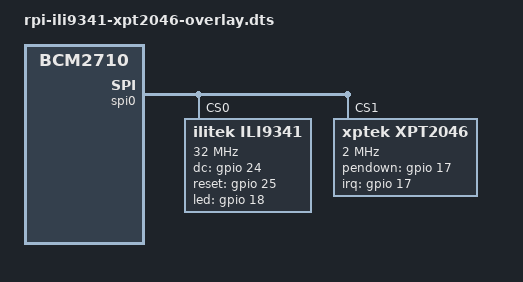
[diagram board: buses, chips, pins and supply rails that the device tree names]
/dts-v1/;
/plugin/;

/ {
    compatible = "brcm,bcm2837", "brcm,bcm2710";

    /* Fragment 0: Configure SPI0 and devices */
    fragment@0 {
        target = <&spi0>;
        __overlay__ {
            status = "okay";
            #address-cells = <1>;
            #size-cells = <0>;

            /delete-node/ spidev@0;
            /delete-node/ spidev@1;

            /* ILI9341 Display on SPI0.0 (CE0) */
            ili9341: ili9341@0 {
                compatible = "ilitek,ili9341";
                reg = <0>;

                spi-max-frequency = <32000000>;

                /* GPIO pins */
                dc-gpios = <&gpio 24 0>;
                reset-gpios = <&gpio 25 0>;
                led-gpios = <&gpio 18 0>;

                /* Display settings */
                rotation = <90>;
                fps = <30>;

                status = "okay";
            };

            /* XPT2046 Touch on SPI0.1 (CE1) */
            xpt2046: xpt2046@1 {
                compatible = "xptek,xpt2046";
                reg = <1>;

                /* SPI configuration */
                spi-max-frequency = <2000000>;

                /* Interrupt configuration - FIXED for interrupt storm */
                interrupt-parent = <&gpio>;
                interrupts = <17 2>;          /* IRQ_TYPE_EDGE_FALLING */
                pendown-gpios = <&gpio 17 0>; /* driver treats GPIO value 0 as pen down */

                /* Calibration - 12-bit ADC range */
                ti,x-min = /bits/ 16 <200>;
                ti,x-max = /bits/ 16 <3900>;
                ti,y-min = /bits/ 16 <200>;
                ti,y-max = /bits/ 16 <3900>;
                ti,pressure-min = /bits/ 16 <30>;
                ti,pressure-max = /bits/ 16 <255>;

                /* Touch configuration flags */
                ti,swap-xy;           /* Swap X and Y for landscape */
                ti,invert-x;
                ti,invert-y;

                status = "okay";
            };
        };
    };

    /* Fragment 1: GPIO pin configuration */
    fragment@1 {
        target = <&gpio>;
        __overlay__ {
            ili9341_pins: ili9341_pins {
                brcm,pins = <24 25 18>;
                brcm,function = <1 1 1>;
                brcm,pull = <0 0 0>;
            };

            xpt2046_pins: xpt2046_pins {
                brcm,pins = <17>;
                brcm,function = <0>;      /* Input */
                brcm,pull = <2>;          /* Pull-up for active-low PENIRQ */
            };
        };
    };

    /* Runtime parameters override */
    __overrides__ {
        speed = <&ili9341>,"spi-max-frequency:0";
        rotation = <&ili9341>,"rotation:0";
        fps = <&ili9341>,"fps:0";
        touch_speed = <&xpt2046>,"spi-max-frequency:0";
    };
};
